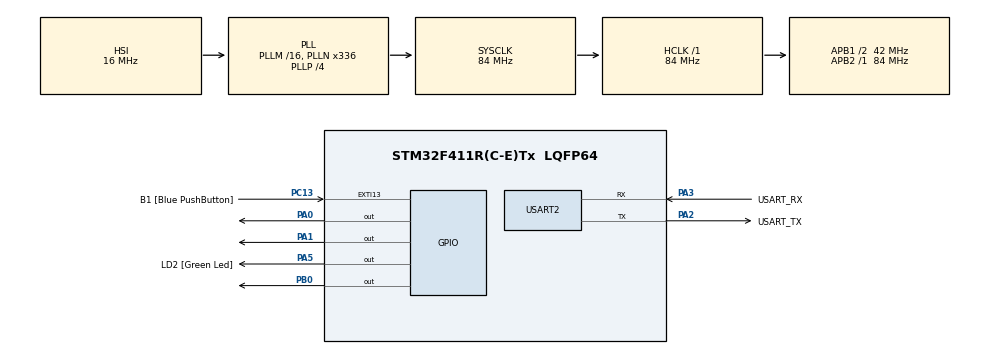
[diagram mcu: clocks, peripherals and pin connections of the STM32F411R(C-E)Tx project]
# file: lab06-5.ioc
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FREERTOS.Queues01=messageQueue,16,uint32_t,0,Dynamic,NULL,NULL
FREERTOS.Tasks01=defaultTask,0,128,StartDefaultTask,Default,NULL,Dynamic,NULL,NULL;myTask02,-3,128,StartTask02,Default,NULL,Dynamic,NULL,NULL;myTask03,-3,128,StartTask03,Default,NULL,Dynamic,NULL,NULL;myTask04,-3,128,StartTask04,Default,NULL,Dynamic,NULL,NULL;myTask05,-3,128,StartTask05,Default,NULL,Dynamic,NULL,NULL;myTask06,-3,128,StartTask06,Default,NULL,Dynamic,NULL,NULL;myTask07,-3,128,StartTask07,Default,NULL,Dynamic,NULL,NULL
Mcu.Family=STM32F4
Mcu.Name=STM32F411R(C-E)Tx
Mcu.Package=LQFP64
NVIC.PriorityGroup=NVIC_PRIORITYGROUP_4
PA0-WKUP.Signal=GPIO_Output
PA1.Signal=GPIO_Output
PA13.GPIO_Label=TMS
PA13.Mode=Serial_Wire
PA13.Signal=SYS_JTMS-SWDIO
PA14.GPIO_Label=TCK
PA14.Mode=Serial_Wire
PA14.Signal=SYS_JTCK-SWCLK
PA2.GPIO_Label=USART_TX
PA2.Mode=Asynchronous
PA2.Signal=USART2_TX
PA3.GPIO_Label=USART_RX
PA3.Mode=Asynchronous
PA3.Signal=USART2_RX
PA5.GPIO_Label=LD2 [Green Led]
PA5.Signal=GPIO_Output
PB0.Signal=GPIO_Output
PB3.GPIO_Label=SWO
PB3.Signal=SYS_JTDO-SWO
PC13-ANTI_TAMP.GPIO_Label=B1 [Blue PushButton]
PC13-ANTI_TAMP.GPIO_ModeDefaultEXTI=GPIO_MODE_IT_FALLING
PC13-ANTI_TAMP.Signal=GPXTI13
PC14-OSC32_IN.Mode=LSE-External-Oscillator
PC14-OSC32_IN.Signal=RCC_OSC32_IN
PC15-OSC32_OUT.Mode=LSE-External-Oscillator
PC15-OSC32_OUT.Signal=RCC_OSC32_OUT
PH0\ -\ OSC_IN.Mode=HSE-External-Clock-Source
PH0\ -\ OSC_IN.Signal=RCC_OSC_IN
PH1\ -\ OSC_OUT.Mode=HSE-External-Clock-Source
PH1\ -\ OSC_OUT.Signal=RCC_OSC_OUT
ProjectManager.HeapSize=0x200
ProjectManager.StackSize=0x400
ProjectManager.TargetToolchain=STM32CubeIDE
RCC.48MHZClocksFreq_Value=84000000
RCC.AHBFreq_Value=84000000
RCC.APB1CLKDivider=RCC_HCLK_DIV2
RCC.APB1Freq_Value=42000000
RCC.APB1TimFreq_Value=84000000
RCC.APB2Freq_Value=84000000
RCC.APB2TimFreq_Value=84000000
RCC.CortexFreq_Value=84000000
RCC.FLatency-AdvancedSettings=FLASH_LATENCY_2
RCC.HCLKFreq_Value=84000000
RCC.HSE_VALUE=8000000
RCC.HSI_VALUE=16000000
RCC.PLLN=336
RCC.PLLP=RCC_PLLP_DIV4
RCC.SYSCLKFreq_VALUE=84000000
RCC.SYSCLKSource=RCC_SYSCLKSOURCE_PLLCLK
RCC.VCOOutputFreq_Value=336000000
USART2.VirtualMode=VM_ASYNC
VP_FREERTOS_VS_CMSIS_V1.Mode=CMSIS_V1
board=NUCLEO-F411RE

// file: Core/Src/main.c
/* USER CODE BEGIN Header */
/**
 ******************************************************************************
 * @file           : main.c
 * @brief          : Main program body
 ******************************************************************************
 * @attention
 *
 * Copyright (c) 2024 STMicroelectronics.
 * All rights reserved.
 *
 * This software is licensed under terms that can be found in the LICENSE file
 * in the root directory of this software component.
 * If no LICENSE file comes with this software, it is provided AS-IS.
 *
 ******************************************************************************
 */
/* USER CODE END Header */
#include "main.h"
#include "cmsis_os.h"

UART_HandleTypeDef huart2;

osThreadId defaultTaskHandle;
osThreadId myTask02Handle;
osThreadId myTask03Handle;
osThreadId myTask04Handle;
osThreadId myTask05Handle;
osThreadId myTask06Handle;
osThreadId myTask07Handle;
osMessageQId messageQueueHandle;

void SystemClock_Config(void);
static void MX_GPIO_Init(void);
static void MX_USART2_UART_Init(void);
void StartDefaultTask(void const *argument);
void StartTask02(void const *argument);
void StartTask03(void const *argument);
void StartTask04(void const *argument);
void StartTask05(void const *argument);
void StartTask06(void const *argument);
void StartTask07(void const *argument);

/* USER CODE BEGIN 0 */
typedef struct {
	uint8_t threadID;   // Identifies the sending thread
	uint32_t count;     // Used by Thread 1 to send count values
	char message[100];  // Used by Thread 2 to send messages
} Message_t;

osMessageQId messageQueueHandle;

Message_t msg1, msg2;
/* USER CODE END 0 */

int main(void) {

	/* MCU Configuration--------------------------------------------------------*/

	/* Reset of all peripherals, Initializes the Flash interface and the Systick. */
	HAL_Init();

	/* Configure the system clock */
	SystemClock_Config();

	/* Initialize all configured peripherals */
	MX_GPIO_Init();
	MX_USART2_UART_Init();

	/* Create the queue(s) */
	/* definition and creation of messageQueue */
	osMessageQDef(messageQueue, 16, uint32_t);
	messageQueueHandle = osMessageCreate(osMessageQ(messageQueue), NULL);

	/* Create the thread(s) */
	/* definition and creation of defaultTask */
	osThreadDef(defaultTask, StartDefaultTask, osPriorityNormal, 0, 128);
	defaultTaskHandle = osThreadCreate(osThread(defaultTask), NULL);

	/* definition and creation of myTask02 */
	osThreadDef(myTask02, StartTask02, osPriorityIdle, 0, 128);
	myTask02Handle = osThreadCreate(osThread(myTask02), NULL);

	/* definition and creation of myTask03 */
	osThreadDef(myTask03, StartTask03, osPriorityIdle, 0, 128);
	myTask03Handle = osThreadCreate(osThread(myTask03), NULL);

	/* definition and creation of myTask04 */
	osThreadDef(myTask04, StartTask04, osPriorityIdle, 0, 128);
	myTask04Handle = osThreadCreate(osThread(myTask04), NULL);

	/* definition and creation of myTask05 */
	osThreadDef(myTask05, StartTask05, osPriorityIdle, 0, 128);
	myTask05Handle = osThreadCreate(osThread(myTask05), NULL);

	/* definition and creation of myTask06 */
	osThreadDef(myTask06, StartTask06, osPriorityIdle, 0, 128);
	myTask06Handle = osThreadCreate(osThread(myTask06), NULL);

	/* definition and creation of myTask07 */
	osThreadDef(myTask07, StartTask07, osPriorityIdle, 0, 128);
	myTask07Handle = osThreadCreate(osThread(myTask07), NULL);

	/* Start scheduler */
	osKernelStart();

	/* We should never get here as control is now taken by the scheduler */
	/* Infinite loop */
	while (1) {

	}
}

void SystemClock_Config(void) {
	RCC_OscInitTypeDef RCC_OscInitStruct = { 0 };
	RCC_ClkInitTypeDef RCC_ClkInitStruct = { 0 };

	/** Configure the main internal regulator output voltage
	 */
	__HAL_RCC_PWR_CLK_ENABLE();
	__HAL_PWR_VOLTAGESCALING_CONFIG(PWR_REGULATOR_VOLTAGE_SCALE1);

	/** Initializes the RCC Oscillators according to the specified parameters
	 * in the RCC_OscInitTypeDef structure.
	 */
	RCC_OscInitStruct.OscillatorType = RCC_OSCILLATORTYPE_HSI;
	RCC_OscInitStruct.HSIState = RCC_HSI_ON;
	RCC_OscInitStruct.HSICalibrationValue = RCC_HSICALIBRATION_DEFAULT;
	RCC_OscInitStruct.PLL.PLLState = RCC_PLL_ON;
	RCC_OscInitStruct.PLL.PLLSource = RCC_PLLSOURCE_HSI;
	RCC_OscInitStruct.PLL.PLLM = 16;
	RCC_OscInitStruct.PLL.PLLN = 336;
	RCC_OscInitStruct.PLL.PLLP = RCC_PLLP_DIV4;
	RCC_OscInitStruct.PLL.PLLQ = 4;
	if (HAL_RCC_OscConfig(&RCC_OscInitStruct) != HAL_OK) {
		Error_Handler();
	}

	/** Initializes the CPU, AHB and APB buses clocks
	 */
	RCC_ClkInitStruct.ClockType = RCC_CLOCKTYPE_HCLK | RCC_CLOCKTYPE_SYSCLK
			| RCC_CLOCKTYPE_PCLK1 | RCC_CLOCKTYPE_PCLK2;
	RCC_ClkInitStruct.SYSCLKSource = RCC_SYSCLKSOURCE_PLLCLK;
	RCC_ClkInitStruct.AHBCLKDivider = RCC_SYSCLK_DIV1;
	RCC_ClkInitStruct.APB1CLKDivider = RCC_HCLK_DIV2;
	RCC_ClkInitStruct.APB2CLKDivider = RCC_HCLK_DIV1;

	if (HAL_RCC_ClockConfig(&RCC_ClkInitStruct, FLASH_LATENCY_2) != HAL_OK) {
		Error_Handler();
	}
}

static void MX_USART2_UART_Init(void) {

	huart2.Instance = USART2;
	huart2.Init.BaudRate = 115200;
	huart2.Init.WordLength = UART_WORDLENGTH_8B;
	huart2.Init.StopBits = UART_STOPBITS_1;
	huart2.Init.Parity = UART_PARITY_NONE;
	huart2.Init.Mode = UART_MODE_TX_RX;
	huart2.Init.HwFlowCtl = UART_HWCONTROL_NONE;
	huart2.Init.OverSampling = UART_OVERSAMPLING_16;
	if (HAL_UART_Init(&huart2) != HAL_OK) {
		Error_Handler();
	}

}

static void MX_GPIO_Init(void) {
	GPIO_InitTypeDef GPIO_InitStruct = { 0 };

	/* GPIO Ports Clock Enable */
	__HAL_RCC_GPIOC_CLK_ENABLE();
	__HAL_RCC_GPIOH_CLK_ENABLE();
	__HAL_RCC_GPIOA_CLK_ENABLE();
	__HAL_RCC_GPIOB_CLK_ENABLE();

	/*Configure GPIO pin Output Level */
	HAL_GPIO_WritePin(GPIOA, GPIO_PIN_0 | GPIO_PIN_1 | LD2_Pin, GPIO_PIN_RESET);

	/*Configure GPIO pin Output Level */
	HAL_GPIO_WritePin(GPIOB, GPIO_PIN_0, GPIO_PIN_RESET);

	/*Configure GPIO pin : B1_Pin */
	GPIO_InitStruct.Pin = B1_Pin;
	GPIO_InitStruct.Mode = GPIO_MODE_IT_FALLING;
	GPIO_InitStruct.Pull = GPIO_NOPULL;
	HAL_GPIO_Init(B1_GPIO_Port, &GPIO_InitStruct);

	/*Configure GPIO pins : PA0 PA1 LD2_Pin */
	GPIO_InitStruct.Pin = GPIO_PIN_0 | GPIO_PIN_1 | LD2_Pin;
	GPIO_InitStruct.Mode = GPIO_MODE_OUTPUT_PP;
	GPIO_InitStruct.Pull = GPIO_NOPULL;
	GPIO_InitStruct.Speed = GPIO_SPEED_FREQ_LOW;
	HAL_GPIO_Init(GPIOA, &GPIO_InitStruct);

	/*Configure GPIO pin : PB0 */
	GPIO_InitStruct.Pin = GPIO_PIN_0;
	GPIO_InitStruct.Mode = GPIO_MODE_OUTPUT_PP;
	GPIO_InitStruct.Pull = GPIO_NOPULL;
	GPIO_InitStruct.Speed = GPIO_SPEED_FREQ_LOW;
	HAL_GPIO_Init(GPIOB, &GPIO_InitStruct);

}

void StartDefaultTask(void const *argument) {
	/* USER CODE BEGIN 5 */
	/* Infinite loop */
	for (;;) {
		HAL_GPIO_TogglePin(GPIOA, GPIO_PIN_5);
		osDelay(25);
	}
	/* USER CODE END 5 */
}

void StartTask02(void const *argument) {
	/* USER CODE BEGIN StartTask02 */
	/* Infinite loop */
	for (;;) {
		HAL_GPIO_TogglePin(GPIOA, GPIO_PIN_0);
		osDelay(9);
	}
	/* USER CODE END StartTask02 */
}

void StartTask03(void const *argument) {
	/* USER CODE BEGIN StartTask03 */
	/* Infinite loop */
	for (;;) {
		HAL_GPIO_TogglePin(GPIOA, GPIO_PIN_1);
		osDelay(64);
	}
	/* USER CODE END StartTask03 */
}

void StartTask04(void const *argument) {
	/* USER CODE BEGIN StartTask04 */
	/* Infinite loop */
	for (;;) {
		HAL_GPIO_TogglePin(GPIOB, GPIO_PIN_0);
		osDelay(32);
	}
	/* USER CODE END StartTask04 */
}

void StartTask05(void const *argument) {
	/* USER CODE BEGIN StartTask05 */
	/* Infinite loop */
	uint32_t count = 0;
	Message_t msg1; // Assuming Message_t is structured to include a char array for the message
	msg1.threadID = 1;
	while (1) {
		msg1.count = count++;
		// Assuming Message_t includes a char array named 'message' for storing formatted text
		snprintf(msg1.message, sizeof(msg1.message), "ID: %d, Count: %lu",
				msg1.threadID, msg1.count);
		osMessagePut(messageQueueHandle, (uint32_t) &msg1, osWaitForever);
		osDelay(300); // 1-second delay
	}
	/* USER CODE END StartTask05 */
}

void StartTask06(void const *argument) {
	/* USER CODE BEGIN StartTask06 */
	/* Infinite loop */
	static uint32_t count2 = 0; // Added a counter for Task 2
	Message_t msg2;
	msg2.threadID = 2;
	while (1) {
		msg2.count = count2++;
		// Correcting the sprintf usage
		snprintf(msg2.message, sizeof(msg2.message), "ID: %d, Count: %lu",
				msg2.threadID, msg2.count);
		osMessagePut(messageQueueHandle, (uint32_t) &msg2, osWaitForever);
		osDelay(300); // 2-second delay
	}
	/* USER CODE END StartTask06 */
}

void StartTask07(void const *argument) {
	/* USER CODE BEGIN StartTask07 */
	/* Infinite loop */
	osEvent evt;
	while (1) {
		evt = osMessageGet(messageQueueHandle, osWaitForever);
		if (evt.status == osEventMessage) {
			Message_t *msg = (Message_t*) evt.value.p;
			char buffer[100]; // Buffer size adjusted as needed
			snprintf(buffer, sizeof(buffer), "ID: %d, Count: %lu \r\n",
					msg->threadID, msg->count);
			HAL_UART_Transmit(&huart2, (uint8_t*) buffer, strlen(buffer),
			HAL_MAX_DELAY);
		}
	}
	/* USER CODE END StartTask07 */
}

void Error_Handler(void) {
	__disable_irq();
	while (1) {
	}
}
